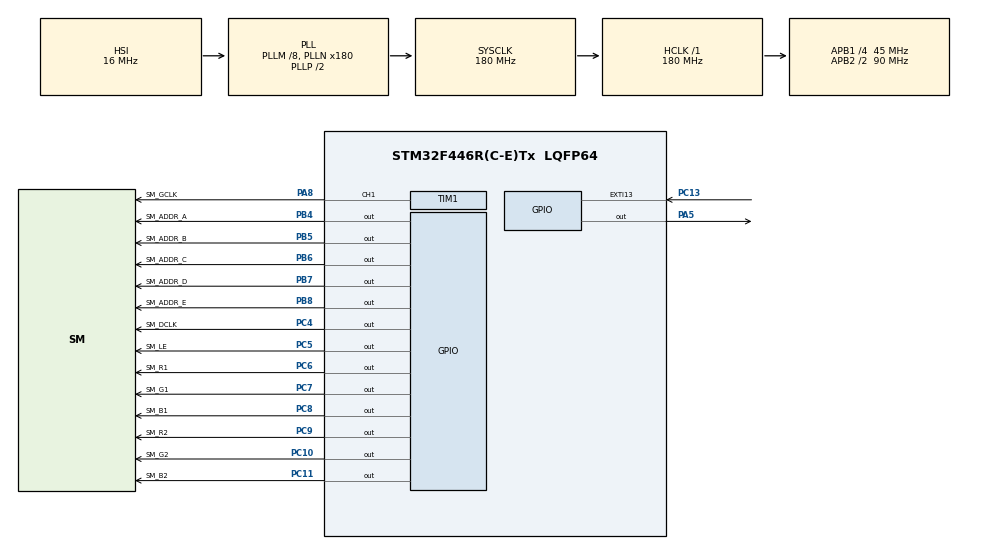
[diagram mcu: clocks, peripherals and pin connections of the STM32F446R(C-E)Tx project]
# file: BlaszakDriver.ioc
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Mcu.Family=STM32F4
Mcu.Name=STM32F446R(C-E)Tx
Mcu.Package=LQFP64
NUCLEO-F446RE.BUTTON=1
NUCLEO-F446RE.LD1=true
NVIC.EXTI15_10_IRQn=true\:0\:0\:false\:false\:true\:false\:true\:true
NVIC.PriorityGroup=NVIC_PRIORITYGROUP_0
NVIC.TIM1_UP_TIM10_IRQn=true\:0\:0\:false\:false\:true\:true\:true\:true
PA13.GPIO_Label=TMS
PA13.Signal=SYS_JTMS-SWDIO
PA14.GPIO_Label=TCK
PA14.Signal=SYS_JTCK-SWCLK
PA2.GPIO_Label=USART_TX
PA2.Signal=USART2_TX
PA3.GPIO_Label=USART_RX
PA3.Signal=USART2_RX
PA5.Signal=GPIO_Output
PA8.GPIO_Label=SM_GCLK
PA8.GPIO_Speed=GPIO_SPEED_FREQ_VERY_HIGH
PA8.Signal=S_TIM1_CH1
PB3.GPIO_Label=SWO
PB3.Signal=SYS_JTDO-SWO
PB4.GPIO_Label=SM_ADDR_A
PB4.GPIO_Speed=GPIO_SPEED_FREQ_VERY_HIGH
PB4.Signal=GPIO_Output
PB5.GPIO_Label=SM_ADDR_B
PB5.GPIO_Speed=GPIO_SPEED_FREQ_VERY_HIGH
PB5.Signal=GPIO_Output
PB6.GPIO_Label=SM_ADDR_C
PB6.GPIO_Speed=GPIO_SPEED_FREQ_VERY_HIGH
PB6.Signal=GPIO_Output
PB7.GPIO_Label=SM_ADDR_D
PB7.GPIO_Speed=GPIO_SPEED_FREQ_VERY_HIGH
PB7.Signal=GPIO_Output
PB8.GPIO_Label=SM_ADDR_E
PB8.GPIO_Speed=GPIO_SPEED_FREQ_VERY_HIGH
PB8.Signal=GPIO_Output
PC10.GPIO_Label=SM_G2
PC10.GPIO_Speed=GPIO_SPEED_FREQ_VERY_HIGH
PC10.Signal=GPIO_Output
PC11.GPIO_Label=SM_B2
PC11.GPIO_Speed=GPIO_SPEED_FREQ_VERY_HIGH
PC11.Signal=GPIO_Output
PC13.Signal=GPXTI13
PC14-OSC32_IN.Signal=RCC_OSC32_IN
PC15-OSC32_OUT.Signal=RCC_OSC32_OUT
PC4.GPIO_Label=SM_DCLK
PC4.GPIO_Speed=GPIO_SPEED_FREQ_VERY_HIGH
PC4.Signal=GPIO_Output
PC5.GPIO_Label=SM_LE
PC5.GPIO_Speed=GPIO_SPEED_FREQ_VERY_HIGH
PC5.Signal=GPIO_Output
PC6.GPIO_Label=SM_R1
PC6.GPIO_Speed=GPIO_SPEED_FREQ_VERY_HIGH
PC6.Signal=GPIO_Output
PC7.GPIO_Label=SM_G1
PC7.GPIO_Speed=GPIO_SPEED_FREQ_VERY_HIGH
PC7.Signal=GPIO_Output
PC8.GPIO_Label=SM_B1
PC8.GPIO_Speed=GPIO_SPEED_FREQ_VERY_HIGH
PC8.Signal=GPIO_Output
PC9.GPIO_Label=SM_R2
PC9.GPIO_Speed=GPIO_SPEED_FREQ_VERY_HIGH
PC9.PinState=GPIO_PIN_RESET
PC9.Signal=GPIO_Output
PH0-OSC_IN.Signal=RCC_OSC_IN
PH1-OSC_OUT.Signal=RCC_OSC_OUT
ProjectManager.HeapSize=0x200
ProjectManager.StackSize=0x400
ProjectManager.TargetToolchain=CMake
RCC.AHBFreq_Value=180000000
RCC.APB1CLKDivider=RCC_HCLK_DIV4
RCC.APB1Freq_Value=45000000
RCC.APB1TimFreq_Value=90000000
RCC.APB2CLKDivider=RCC_HCLK_DIV2
RCC.APB2Freq_Value=90000000
RCC.APB2TimFreq_Value=180000000
RCC.CortexFreq_Value=180000000
RCC.FLatency-AdvancedSettings=FLASH_LATENCY_5
RCC.HCLKFreq_Value=180000000
RCC.HSE_VALUE=8000000
RCC.HSI_VALUE=16000000
RCC.LSE_VALUE=32768
RCC.PLLM=8
RCC.PLLN=180
RCC.SYSCLKFreq_VALUE=180000000
RCC.SYSCLKSource=RCC_SYSCLKSOURCE_PLLCLK
RCC.USBFreq_Value=180000000
RCC.VCOOutputFreq_Value=360000000
SH.S_TIM1_CH1.0=TIM1_CH1,PWM Generation1 CH1
TIM1.AutoReloadPreload=TIM_AUTORELOAD_PRELOAD_ENABLE
TIM1.Channel-PWM\ Generation1\ CH1=TIM_CHANNEL_1
TIM1.OCFastMode_PWM-PWM\ Generation1\ CH1=TIM_OCFAST_ENABLE
TIM1.Period=35
TIM1.Pulse-PWM\ Generation1\ CH1=18
TIM1.RepetitionCounter=130
VP_NUCLEO-F446RE_VS_BSP_COMMON.Mode=COMMON
VP_TIM1_VS_ClockSourceINT.Mode=Internal
board=NUCLEO-F446RE

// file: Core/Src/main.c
/* USER CODE BEGIN Header */
/**
  ******************************************************************************
  * @file           : main.c
  * @brief          : Main program body
  ******************************************************************************
  * @attention
  *
  * Copyright (c) 2026 STMicroelectronics.
  * All rights reserved.
  *
  * This software is licensed under terms that can be found in the LICENSE file
  * in the root directory of this software component.
  * If no LICENSE file comes with this software, it is provided AS-IS.
  *
  ******************************************************************************
  */
/* USER CODE END Header */
#include "main.h"

/* USER CODE BEGIN Includes */
#include "sm16380sc.h"
#include "stm32f4xx_hal_tim.h"
/* USER CODE END Includes */

TIM_HandleTypeDef htim1;

void SystemClock_Config(void);
static void MX_GPIO_Init(void);
static void MX_TIM1_Init(void);
/* USER CODE BEGIN PFP */

void setup_GCLK_timer();
void bus_delay();
void set_LE();
void reset_LE();
void set_DCLK();
void reset_DCLK();
void set_row(unsigned);
void write_rgb6(const SM16380SC_RGB6, unsigned);

/* USER CODE END PFP */

int main(void)
{

  /* MCU Configuration--------------------------------------------------------*/

  /* Reset of all peripherals, Initializes the Flash interface and the Systick. */
  HAL_Init();

  /* Configure the system clock */
  SystemClock_Config();

  /* Initialize all configured peripherals */
  MX_GPIO_Init();
  MX_TIM1_Init();
  /* USER CODE BEGIN 2 */
  SM16380SC_Init((SM16380SC_HW_Config) {
    .setup_GCLK_timer = setup_GCLK_timer,
    .bus_delay = bus_delay,
    .set_LE = set_LE,
    .reset_LE = reset_LE,
    .set_DCLK = set_DCLK,
    .reset_DCLK = reset_DCLK,
    .set_row = set_row,
    .write_rgb6 = write_rgb6
  });
  SM16380SC_UploadTestImage();
  /* USER CODE END 2 */

  /* Initialize leds */
  BSP_LED_Init(LED2);

  /* Initialize USER push-button, will be used to trigger an interrupt each time it's pressed.*/
  BSP_PB_Init(BUTTON_USER, BUTTON_MODE_EXTI);

  /* Infinite loop */
  /* USER CODE BEGIN WHILE */
  int frame = 0;
  while (1)
  {
    __WFI();
    SM16380SC_UploadMovingTestImage(frame%SM16380SC_PANEL_WIDTH);

    frame += 1;

    /* USER CODE END WHILE */

  }
}

void SystemClock_Config(void)
{
  RCC_OscInitTypeDef RCC_OscInitStruct = {0};
  RCC_ClkInitTypeDef RCC_ClkInitStruct = {0};

  /** Configure the main internal regulator output voltage
  */
  __HAL_RCC_PWR_CLK_ENABLE();
  __HAL_PWR_VOLTAGESCALING_CONFIG(PWR_REGULATOR_VOLTAGE_SCALE1);

  /** Initializes the RCC Oscillators according to the specified parameters
  * in the RCC_OscInitTypeDef structure.
  */
  RCC_OscInitStruct.OscillatorType = RCC_OSCILLATORTYPE_HSI;
  RCC_OscInitStruct.HSIState = RCC_HSI_ON;
  RCC_OscInitStruct.HSICalibrationValue = RCC_HSICALIBRATION_DEFAULT;
  RCC_OscInitStruct.PLL.PLLState = RCC_PLL_ON;
  RCC_OscInitStruct.PLL.PLLSource = RCC_PLLSOURCE_HSI;
  RCC_OscInitStruct.PLL.PLLM = 8;
  RCC_OscInitStruct.PLL.PLLN = 180;
  RCC_OscInitStruct.PLL.PLLP = RCC_PLLP_DIV2;
  RCC_OscInitStruct.PLL.PLLQ = 2;
  RCC_OscInitStruct.PLL.PLLR = 2;
  if (HAL_RCC_OscConfig(&RCC_OscInitStruct) != HAL_OK)
  {
    Error_Handler();
  }

  /** Activate the Over-Drive mode
  */
  if (HAL_PWREx_EnableOverDrive() != HAL_OK)
  {
    Error_Handler();
  }

  /** Initializes the CPU, AHB and APB buses clocks
  */
  RCC_ClkInitStruct.ClockType = RCC_CLOCKTYPE_HCLK|RCC_CLOCKTYPE_SYSCLK
                              |RCC_CLOCKTYPE_PCLK1|RCC_CLOCKTYPE_PCLK2;
  RCC_ClkInitStruct.SYSCLKSource = RCC_SYSCLKSOURCE_PLLCLK;
  RCC_ClkInitStruct.AHBCLKDivider = RCC_SYSCLK_DIV1;
  RCC_ClkInitStruct.APB1CLKDivider = RCC_HCLK_DIV4;
  RCC_ClkInitStruct.APB2CLKDivider = RCC_HCLK_DIV2;

  if (HAL_RCC_ClockConfig(&RCC_ClkInitStruct, FLASH_LATENCY_5) != HAL_OK)
  {
    Error_Handler();
  }
}

static void MX_TIM1_Init(void)
{

  TIM_ClockConfigTypeDef sClockSourceConfig = {0};
  TIM_MasterConfigTypeDef sMasterConfig = {0};
  TIM_OC_InitTypeDef sConfigOC = {0};
  TIM_BreakDeadTimeConfigTypeDef sBreakDeadTimeConfig = {0};

  htim1.Instance = TIM1;
  htim1.Init.Prescaler = 0;
  htim1.Init.CounterMode = TIM_COUNTERMODE_UP;
  htim1.Init.Period = 35;
  htim1.Init.ClockDivision = TIM_CLOCKDIVISION_DIV1;
  htim1.Init.RepetitionCounter = 130;
  htim1.Init.AutoReloadPreload = TIM_AUTORELOAD_PRELOAD_ENABLE;
  if (HAL_TIM_Base_Init(&htim1) != HAL_OK)
  {
    Error_Handler();
  }
  sClockSourceConfig.ClockSource = TIM_CLOCKSOURCE_INTERNAL;
  if (HAL_TIM_ConfigClockSource(&htim1, &sClockSourceConfig) != HAL_OK)
  {
    Error_Handler();
  }
  if (HAL_TIM_PWM_Init(&htim1) != HAL_OK)
  {
    Error_Handler();
  }
  sMasterConfig.MasterOutputTrigger = TIM_TRGO_RESET;
  sMasterConfig.MasterSlaveMode = TIM_MASTERSLAVEMODE_DISABLE;
  if (HAL_TIMEx_MasterConfigSynchronization(&htim1, &sMasterConfig) != HAL_OK)
  {
    Error_Handler();
  }
  sConfigOC.OCMode = TIM_OCMODE_PWM1;
  sConfigOC.Pulse = 18;
  sConfigOC.OCPolarity = TIM_OCPOLARITY_HIGH;
  sConfigOC.OCNPolarity = TIM_OCNPOLARITY_HIGH;
  sConfigOC.OCFastMode = TIM_OCFAST_ENABLE;
  sConfigOC.OCIdleState = TIM_OCIDLESTATE_RESET;
  sConfigOC.OCNIdleState = TIM_OCNIDLESTATE_RESET;
  if (HAL_TIM_PWM_ConfigChannel(&htim1, &sConfigOC, TIM_CHANNEL_1) != HAL_OK)
  {
    Error_Handler();
  }
  sBreakDeadTimeConfig.OffStateRunMode = TIM_OSSR_DISABLE;
  sBreakDeadTimeConfig.OffStateIDLEMode = TIM_OSSI_DISABLE;
  sBreakDeadTimeConfig.LockLevel = TIM_LOCKLEVEL_OFF;
  sBreakDeadTimeConfig.DeadTime = 0;
  sBreakDeadTimeConfig.BreakState = TIM_BREAK_DISABLE;
  sBreakDeadTimeConfig.BreakPolarity = TIM_BREAKPOLARITY_HIGH;
  sBreakDeadTimeConfig.AutomaticOutput = TIM_AUTOMATICOUTPUT_DISABLE;
  if (HAL_TIMEx_ConfigBreakDeadTime(&htim1, &sBreakDeadTimeConfig) != HAL_OK)
  {
    Error_Handler();
  }
  HAL_TIM_MspPostInit(&htim1);

}

static void MX_GPIO_Init(void)
{
  GPIO_InitTypeDef GPIO_InitStruct = {0};

  /* GPIO Ports Clock Enable */
  __HAL_RCC_GPIOC_CLK_ENABLE();
  __HAL_RCC_GPIOH_CLK_ENABLE();
  __HAL_RCC_GPIOA_CLK_ENABLE();
  __HAL_RCC_GPIOB_CLK_ENABLE();

  /*Configure GPIO pin Output Level */
  HAL_GPIO_WritePin(GPIOC, SM_DCLK_Pin|SM_LE_Pin|SM_R1_Pin|SM_G1_Pin
                          |SM_B1_Pin|SM_R2_Pin|SM_G2_Pin|SM_B2_Pin, GPIO_PIN_RESET);

  /*Configure GPIO pin Output Level */
  HAL_GPIO_WritePin(GPIOB, SM_ADDR_A_Pin|SM_ADDR_B_Pin|SM_ADDR_C_Pin|SM_ADDR_D_Pin
                          |SM_ADDR_E_Pin, GPIO_PIN_RESET);

  /*Configure GPIO pins : USART_TX_Pin USART_RX_Pin */
  GPIO_InitStruct.Pin = USART_TX_Pin|USART_RX_Pin;
  GPIO_InitStruct.Mode = GPIO_MODE_AF_PP;
  GPIO_InitStruct.Pull = GPIO_NOPULL;
  GPIO_InitStruct.Speed = GPIO_SPEED_FREQ_VERY_HIGH;
  GPIO_InitStruct.Alternate = GPIO_AF7_USART2;
  HAL_GPIO_Init(GPIOA, &GPIO_InitStruct);

  /*Configure GPIO pins : SM_DCLK_Pin SM_LE_Pin SM_R1_Pin SM_G1_Pin
                           SM_B1_Pin SM_R2_Pin SM_G2_Pin SM_B2_Pin */
  GPIO_InitStruct.Pin = SM_DCLK_Pin|SM_LE_Pin|SM_R1_Pin|SM_G1_Pin
                          |SM_B1_Pin|SM_R2_Pin|SM_G2_Pin|SM_B2_Pin;
  GPIO_InitStruct.Mode = GPIO_MODE_OUTPUT_PP;
  GPIO_InitStruct.Pull = GPIO_NOPULL;
  GPIO_InitStruct.Speed = GPIO_SPEED_FREQ_VERY_HIGH;
  HAL_GPIO_Init(GPIOC, &GPIO_InitStruct);

  /*Configure GPIO pins : SM_ADDR_A_Pin SM_ADDR_B_Pin SM_ADDR_C_Pin SM_ADDR_D_Pin
                           SM_ADDR_E_Pin */
  GPIO_InitStruct.Pin = SM_ADDR_A_Pin|SM_ADDR_B_Pin|SM_ADDR_C_Pin|SM_ADDR_D_Pin
                          |SM_ADDR_E_Pin;
  GPIO_InitStruct.Mode = GPIO_MODE_OUTPUT_PP;
  GPIO_InitStruct.Pull = GPIO_NOPULL;
  GPIO_InitStruct.Speed = GPIO_SPEED_FREQ_VERY_HIGH;
  HAL_GPIO_Init(GPIOB, &GPIO_InitStruct);

}

/* USER CODE BEGIN 4 */

#define SM_RGB_PIN_MASK \
  (SM_R1_Pin | SM_G1_Pin | SM_B1_Pin | SM_R2_Pin | SM_G2_Pin | SM_B2_Pin)

#define SM_ADDR_PIN_MASK \
  (SM_ADDR_A_Pin | SM_ADDR_B_Pin | SM_ADDR_C_Pin | SM_ADDR_D_Pin | SM_ADDR_E_Pin)

void setup_GCLK_timer() {
  TIM_HandleTypeDef *gclk_timer = &htim1;
  gclk_timer->Init.RepetitionCounter = SM16380SC_GCLK_PER_ROW - 1u;
  gclk_timer->Instance->RCR = SM16380SC_GCLK_PER_ROW - 1u;
  __HAL_TIM_SET_COUNTER(gclk_timer, 0u);
  gclk_timer->Instance->EGR = TIM_EGR_UG;
  __HAL_TIM_CLEAR_FLAG(gclk_timer, TIM_FLAG_UPDATE);
  if (HAL_TIM_PWM_Start(gclk_timer, TIM_CHANNEL_1) != HAL_OK) {
      Error_Handler();
  }
  __HAL_TIM_CLEAR_FLAG(gclk_timer, TIM_FLAG_UPDATE);
  __HAL_TIM_ENABLE_IT(gclk_timer, TIM_IT_UPDATE);
}

void bus_delay() {
  __NOP();
}

void set_LE() {
  SM_LE_GPIO_Port->BSRR = SM_LE_Pin;
}

void reset_LE() {
  SM_LE_GPIO_Port->BSRR = SM_LE_Pin << 16;
}

void set_DCLK() {
  SM_LE_GPIO_Port->BSRR = SM_DCLK_Pin;
}

void reset_DCLK() {
  SM_LE_GPIO_Port->BSRR = SM_DCLK_Pin << 16;
}

void set_row(unsigned row) {
  uint32_t pins = 0u;

  if ((row & 0x01u) != 0u) pins |= SM_ADDR_A_Pin;
  if ((row & 0x02u) != 0u) pins |= SM_ADDR_B_Pin;
  if ((row & 0x04u) != 0u) pins |= SM_ADDR_C_Pin;
  if ((row & 0x08u) != 0u) pins |= SM_ADDR_D_Pin;
  if ((row & 0x10u) != 0u) pins |= SM_ADDR_E_Pin;

  const uint32_t high = pins & SM_ADDR_PIN_MASK;
  const uint32_t low = SM_ADDR_PIN_MASK & ~high;
  SM_ADDR_A_GPIO_Port->BSRR = (low << 16u) | high;
  // bus_delay();
}

void write_rgb6(const SM16380SC_RGB6 rgb, unsigned bit) {
  const uint16_t mask = (uint16_t)(1u << bit);
  uint32_t pins = 0u;

  if ((rgb.r1 & mask) != 0u) pins |= SM_R1_Pin;
  if ((rgb.g1 & mask) != 0u) pins |= SM_G1_Pin;
  if ((rgb.b1 & mask) != 0u) pins |= SM_B1_Pin;
  if ((rgb.r2 & mask) != 0u) pins |= SM_R2_Pin;
  if ((rgb.g2 & mask) != 0u) pins |= SM_G2_Pin;
  if ((rgb.b2 & mask) != 0u) pins |= SM_B2_Pin;

  const uint32_t high = pins & SM_RGB_PIN_MASK;
  const uint32_t low = SM_RGB_PIN_MASK & ~high;

  /* Never request set and reset for the same GPIO in one BSRR write. */
  SM_R1_GPIO_Port->BSRR = (low << 16u) | high;
}

void HAL_TIM_PeriodElapsedCallback(TIM_HandleTypeDef *htim) {
  if (htim->Instance == TIM1)
  {
    SM16380SC_RowPeriodElapsed();
  }
}

/* USER CODE END 4 */

void Error_Handler(void)
{
  __disable_irq();
  while (1)
  {
  }
}
